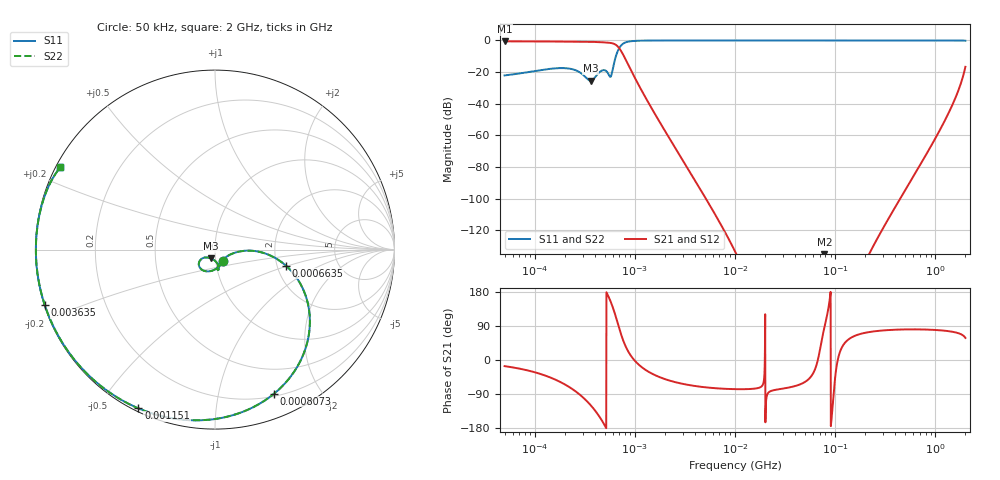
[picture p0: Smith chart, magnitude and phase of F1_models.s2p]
! Created with skrf 2.2.0 (http://scikit-rf.org).
# MHz S RI R 50.0
! Port[1] = P1
! Port[2] = P2
!freq ReS11 ImS11 ReS21 ImS21 ReS12 ImS12 ReS22 ImS22
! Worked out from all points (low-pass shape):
!   2001 points, 50 kHz to 2 GHz, reference 50 ohm
!   highest |S21| = -0.58 dB at 50 kHz (marker M1); lowest = -199.0 dB at 78.13 MHz (marker M2)
!   |S21| within 3 dB of the highest: start of sweep to 668.5 kHz
!   lowest |S11| = -25.5 dB at 360.8 kHz (marker M3), VSWR 1.11, Z = 47.7 - j4.67 ohm
!   |S11| at or under -10 dB: start of sweep to 646 kHz
!   |S22| runs from -25.5 to 0.0 dB; largest |S21 - S12| = 9e-16
!   S11 on the Smith chart (normalised r, x): 50 kHz: 1.09, -0.14; 663.5 kHz: 2.24, -0.48; 807.3 kHz: 0.23, -1.47; 1.151 MHz: 0.01, -0.63; 3.635 MHz: 0.00, -0.16; 2 GHz: 0.01, +0.25
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0.05  0.0459 -0.0637  0.8986 -0.2613  0.8986 -0.2613  0.0459 -0.0637
0.14427  -0.0381 -0.1213  0.6356 -0.6713  0.6356 -0.6713  -0.0381 -0.1213
0.2934364  -0.0738 -0.051  -0.0855 -0.9097  -0.0855 -0.9097  -0.0738 -0.051
0.3607898  -0.0214 -0.0488  -0.4373 -0.7908  -0.4373 -0.7908  -0.0214 -0.0488
0.4652685  0.0208 -0.1087  -0.815 -0.323  -0.815 -0.323  0.0208 -0.1087
0.5255661  0.0142 -0.1017  -0.8546 0.0539  -0.8546 0.0539  0.0142 -0.1017
0.5781571  0.0627 -0.0403  -0.727 0.3953  -0.727 0.3953  0.0627 -0.0403
0.6635485  0.3953 -0.0896  -0.156 0.6592  -0.156 0.6592  0.3953 -0.0896
0.7260895  0.5273 -0.4372  0.1706 0.4385  0.1706 0.4385  0.5273 -0.4372
0.807255  0.3298 -0.8022  0.2034 0.15  0.2034 0.15  0.3298 -0.8022
0.9264832  -0.0359 -0.948  0.1042 0.0161  0.1042 0.0161  -0.0359 -0.948
1.151277  -0.4266 -0.8845  0.0271 -0.00849  0.0271 -0.00849  -0.4266 -0.8845
1.712999  -0.7615 -0.6396  0.00226 -0.00217  0.00226 -0.00217  -0.7615 -0.6396
3.167207  -0.9321 -0.3547  5.42e-05 -0.000112  5.42e-05 -0.000112  -0.9321 -0.3547
3.63499  -0.9482 -0.3096  2.38e-05 -5.59e-05  2.38e-05 -5.59e-05  -0.9482 -0.3096
10  -0.9916 -0.112  4.9e-08 -2.11e-07  4.9e-08 -2.11e-07  -0.9916 -0.112
58.68728  -0.9979 -0.012  3.71e-10 -3.14e-10  3.71e-10 -3.14e-10  -0.9979 -0.012
78.12673  -0.998 -0.00472  7.74e-12 1.12e-10  7.74e-12 1.12e-10  -0.998 -0.00472
342.5997  -0.9972 0.0399  4.54e-07 2.35e-06  4.54e-07 2.35e-06  -0.9972 0.0399
704.2504  -0.9938 0.0897  1.85e-05 0.000113  1.85e-05 0.000113  -0.9938 0.0897
1387.583  -0.9761 0.2033  0.00144 0.00566  0.00144 0.00566  -0.9761 0.2033
2000  -0.8611 0.4599  0.077 0.1244  0.077 0.1244  -0.8611 0.4599
